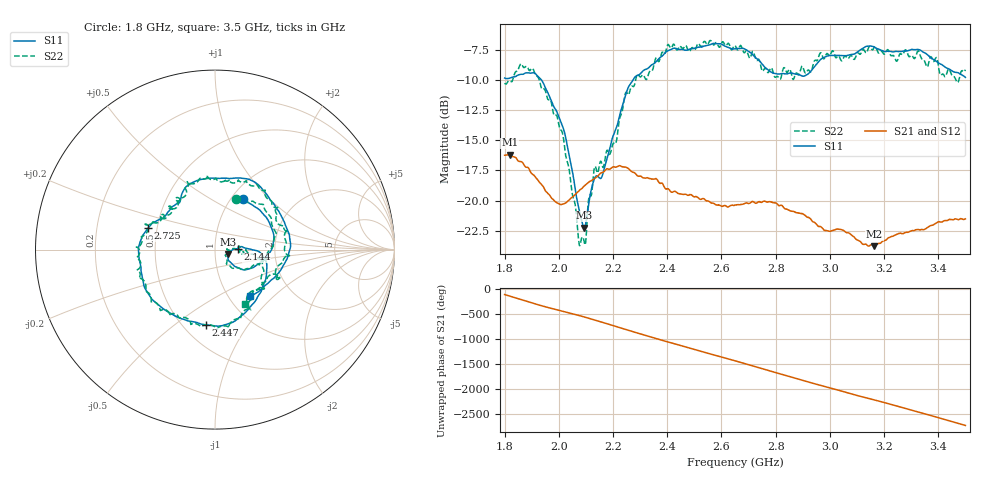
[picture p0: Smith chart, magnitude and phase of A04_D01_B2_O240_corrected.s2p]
! Created with skrf 1.9.0 (http://scikit-rf.org).
# Hz S RI R 50.0
!freq ReS11 ImS11 ReS21 ImS21 ReS12 ImS12 ReS22 ImS22
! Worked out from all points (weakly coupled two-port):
!   1601 points, 1.8 GHz to 3.5 GHz, reference 50 ohm
!   highest |S21| = -16.20 dB at 1.819 GHz (marker M1); lowest = -23.8 dB at 3.164 GHz (marker M2)
!   lowest |S11| = -22.2 dB at 2.093 GHz (marker M3), VSWR 1.17, Z = 57.8 - j2.9 ohm
!   |S11| at or under -10 dB: 1.935 GHz to 2.274 GHz (338.8 MHz wide, 16.1 % of centre)
!   |S22| runs from -23.7 to -6.7 dB; largest |S21 - S12| = 0.0031
!   S11 on the Smith chart (normalised r, x): 1.8 GHz: 1.13, +0.71; 2.144 GHz: 1.29, +0.00; 2.447 GHz: 0.64, -0.66; 2.725 GHz: 0.45, +0.13; 3.5 GHz: 1.25, -0.72
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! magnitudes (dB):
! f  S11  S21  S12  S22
! 1.8 GHz  -9.9  -16.2  -16.2  -10.3
! 1.819 GHz  -9.9  -16.2  -16.2  -10.1
! 1.902 GHz  -9.4  -17.8  -17.8  -9.0
! 1.969 GHz  -11.6  -19.7  -19.7  -11.7
! 2.021 GHz  -14.3  -20.2  -20.2  -15.5
! 2.084 GHz  -21.6  -19.0  -19.0  -23.1
! 2.093 GHz  -22.2  -18.8  -18.9  -23.3
! 2.129 GHz  -18.3  -18.2  -18.2  -17.5
! 2.144 GHz  -18.0  -18.0  -17.9  -17.7
! 2.208 GHz  -14.2  -17.2  -17.2  -15.3
! 2.259 GHz  -10.5  -17.4  -17.4  -11.2
! 2.367 GHz  -8.3  -18.4  -18.4  -8.5
! 2.447 GHz  -7.5  -19.4  -19.4  -7.2
! 2.65 GHz  -7.4  -20.4  -20.3  -7.2
! 2.725 GHz  -8.2  -20.2  -20.2  -8.2
! 2.81 GHz  -9.5  -20.4  -20.3  -9.8
! 2.934 GHz  -9.2  -21.7  -21.6  -9.2
! 3.164 GHz  -7.3  -23.8  -23.7  -7.3
! 3.217 GHz  -7.6  -23.1  -23.0  -7.6
! 3.389 GHz  -8.4  -21.9  -21.9  -8.2
! 3.469 GHz  -9.4  -21.5  -21.5  -10.2
! 3.5 GHz  -9.8  -21.5  -21.5  -9.2
